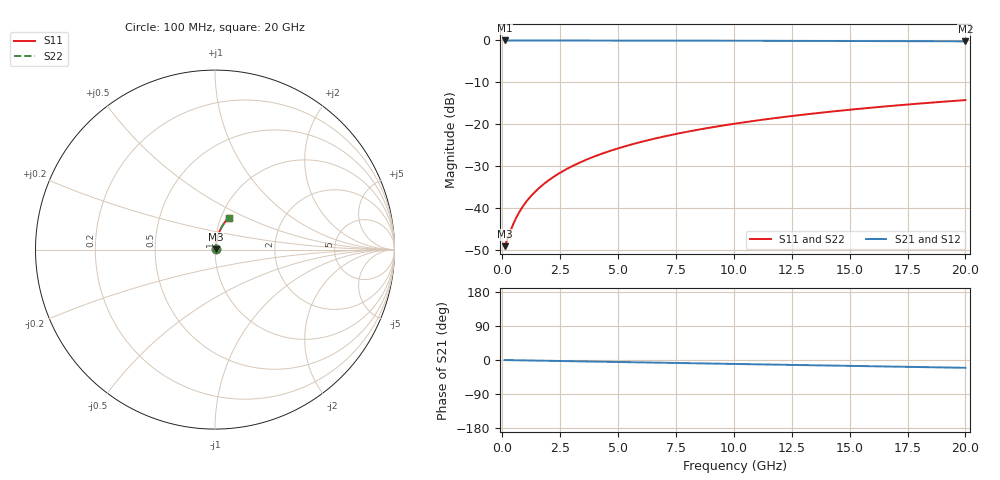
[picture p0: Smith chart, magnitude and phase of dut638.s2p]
! Touchstone file exported from HFSS 2026.1.0
!  File:  C:/ffzhzh/LocalFiles/Ansys_Project_Files/temp_train_TMRDL_638_1783009318_51716.aedt
!  Generated:  12:23:23 AM Jul  3, 2026
!  Design:  TMRDL
!  Project:  temp_train_TMRDL_638_1783009318_51716
! Variables:
!  h_bsmrdl = 2um
!  h_ox = 20um
!  h_rdl = 5um
!  h_sub = 80um
!  h_tmrdl = 2.08um
!  h_tsv = 80um
!  h_via = 3um
!  l_bsmrdl = 300um
!  l_sub = 684.88um
!  l_tmrdl = 284.88um
!  m_sub = 200um
!  pitch = 31.96um
!  r_tsv = 6um
!  s_tmrdl = 10um
!  w_bsmrdl = 18um
!  w_sub = 500um
!  w_tmrdl = 16.45um
!  x_tsv_center1 = 293.105um
!  x_tsv_center2 = 611.105um
!  x_tsv_center3 = 912.435um
!  x_tsv_center4 = 1230.435um
!  x_tsv_center5 = 1531.765um
!  x_tsv_center6 = 1849.765um
# GHz S MA R 50.000000
! Terminal data exported
! Port[1] = TM_RDL1_1_T1
! Port[2] = TM_RDL1_1_T2
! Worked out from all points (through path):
!   200 points, 100 MHz to 20 GHz, reference 50 ohm
!   highest |S21| = -0.03 dB at 100 MHz (marker M1); lowest = -0.2 dB at 20 GHz (marker M2)
!   group delay of S21, straight-line fit = 2.86 ps
!   lowest |S11| = -49.2 dB at 100 MHz (marker M3), VSWR 1.01, Z = 50.3 + j0.115 ohm
!   |S11| at or under -10 dB: start of sweep to end of sweep
!   |S22| runs from -49.2 to -14.3 dB; largest |S21 - S12| = 2.1e-15
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0.1  0.003468 19.2  0.9967 -0.1  0.9967 -0.1  0.003468 19.2
! Gamma 0 0 0 0
! Port Impedance 50 0 50 0
0.2  0.004028 34.4  0.9967 -0.2  0.9967 -0.2  0.004028 34.4
0.4  0.005684 52.1  0.9965 -0.4  0.9965 -0.4  0.005684 52.1
0.5  0.006618 57.1  0.9964 -0.6  0.9964 -0.6  0.006618 57.1
0.7  0.008539 63.5  0.9963 -0.8  0.9963 -0.8  0.008539 63.5
0.8  0.009506 65.7  0.9962 -0.9  0.9962 -0.9  0.009506 65.7
1  0.01144 68.9  0.996 -1.1  0.996 -1.1  0.01144 68.9
1.3  0.01436 72.2  0.9958 -1.4  0.9958 -1.4  0.01436 72.2
1.7  0.01827 74.9  0.9956 -1.8  0.9956 -1.8  0.01827 74.9
2.2  0.0232 77.0  0.9954 -2.3  0.9954 -2.3  0.0232 77.0
2.8  0.02916 78.3  0.9952 -3.0  0.9952 -3.0  0.02916 78.3
3.5  0.03615 79.1  0.9948 -3.7  0.9948 -3.7  0.03615 79.1
4.2  0.04316 79.4  0.9945 -4.4  0.9945 -4.4  0.04316 79.4
5  0.05116 79.4  0.994 -5.3  0.994 -5.3  0.05116 79.4
5.9  0.06014 79.1  0.9933 -6.2  0.9933 -6.2  0.06014 79.1
6.8  0.0691 78.7  0.9926 -7.1  0.9926 -7.1  0.0691 78.7
8.3  0.08392 77.7  0.9912 -8.7  0.9912 -8.7  0.08392 77.7
10.1  0.1015 76.2  0.9891 -10.6  0.9891 -10.6  0.1015 76.2
11.7  0.117 74.8  0.9871 -12.2  0.9871 -12.2  0.117 74.8
13.4  0.1331 73.3  0.9846 -13.9  0.9846 -13.9  0.1331 73.3
16.7  0.1637 70.2  0.9793 -17.3  0.9793 -17.3  0.1637 70.2
20  0.1933 67.1  0.9731 -20.6  0.9731 -20.6  0.1933 67.1
